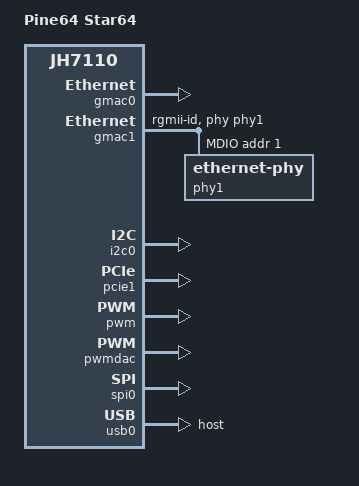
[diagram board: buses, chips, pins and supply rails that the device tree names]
// SPDX-License-Identifier: GPL-2.0 OR MIT
/*
 * Copyright (C) 2024 Henry Bell <dmoo_dv@protonmail.com>
 */

/dts-v1/;
#include "jh7110-common.dtsi"

/ {
	model = "Pine64 Star64";
	compatible = "pine64,star64", "starfive,jh7110";
	aliases {
		ethernet1 = &gmac1;
	};
	chosen {
		opensbi-domains {
			compatible = "opensbi,domain,config";

			tmem: tmem {
				compatible = "opensbi,domain,memregion";
				base = <0x0 0x80000000>;
				order = <24>; // 16MiB
			};

			allmem: allmem {
				compatible = "opensbi,domain,memregion";
				base = <0x0 0x0>;
				order = <64>;
			};

			tdomain: trusted-domain {
				compatible = "opensbi,domain,instance";
				regions = <&allmem 0x3f>;
				possible-harts = <&U74_1 &U74_2 &U74_3 &U74_4>;
				next-addr = <0x0 0x80000000>; /* optee_os: CFG_TDDRAM_START */
				next-mode = <0x1>;
			};

			udomain: untrusted-domain {
				compatible = "opensbi,domain,instance";
				regions = <&tmem 0x0>, <&allmem 0x3f>;
				possible-harts = <&U74_1 &U74_2 &U74_3 &U74_4>;
				boot-hart = <&U74_1>;
				next-addr = <0x0 0x40200000>; /* u-boot: CONFIG_TEXT_BASE */
				next-mode = <0x1>;
			};
		};
	};
};

&gmac0 {
	starfive,tx-use-rgmii-clk;
	assigned-clocks = <&aoncrg JH7110_AONCLK_GMAC0_TX>;
	assigned-clock-parents = <&aoncrg JH7110_AONCLK_GMAC0_RMII_RTX>;
	status = "okay";
};

&gmac1 {
	phy-handle = <&phy1>;
	phy-mode = "rgmii-id";
	starfive,tx-use-rgmii-clk;
	assigned-clocks = <&syscrg JH7110_SYSCLK_GMAC1_TX>;
	assigned-clock-parents = <&syscrg JH7110_SYSCLK_GMAC1_RMII_RTX>;
	status = "okay";

	mdio {
		#address-cells = <1>;
		#size-cells = <0>;
		compatible = "snps,dwmac-mdio";

		phy1: ethernet-phy@1 {
			reg = <1>;
		};
	};
};

&i2c0 {
	status = "okay";
};

&pcie1 {
	status = "okay";
};

&phy0 {
	rx-internal-delay-ps = <1500>;
	motorcomm,rx-clk-drv-microamp = <2910>;
	motorcomm,rx-data-drv-microamp = <2910>;
	motorcomm,tx-clk-adj-enabled;
	motorcomm,tx-clk-10-inverted;
	motorcomm,tx-clk-100-inverted;
	motorcomm,tx-clk-1000-inverted;
};

&phy1 {
	rx-internal-delay-ps = <0>;
	tx-internal-delay-ps = <300>;
	motorcomm,rx-clk-drv-microamp = <2910>;
	motorcomm,rx-data-drv-microamp = <2910>;
	motorcomm,tx-clk-adj-enabled;
	motorcomm,tx-clk-10-inverted;
	motorcomm,tx-clk-100-inverted;
};

&pwm {
	status = "okay";
};

&pwmdac {
	status = "okay";
};

&spi0 {
	status = "okay";
};

&sysgpio {
	usb0_pins: usb0-0 {
		vbus-pins {
			pinmux = <GPIOMUX(25,  GPOUT_SYS_USB_DRIVE_VBUS,
					       GPOEN_ENABLE,
					       GPI_NONE)>;
			bias-disable;
			input-disable;
			input-schmitt-disable;
			slew-rate = <0>;
		};
	};
};

&usb0 {
	dr_mode = "host";
	pinctrl-names = "default";
	pinctrl-0 = <&usb0_pins>;
	status = "okay";
};

&U74_1 {
	opensbi-domain = <&tdomain>;
};

&U74_2 {
	opensbi-domain = <&tdomain>;
};

&U74_3 {
	opensbi-domain = <&tdomain>;
};

&U74_4 {
	opensbi-domain = <&tdomain>;
};
